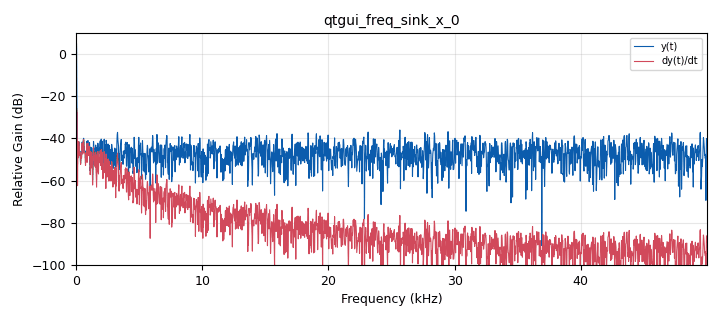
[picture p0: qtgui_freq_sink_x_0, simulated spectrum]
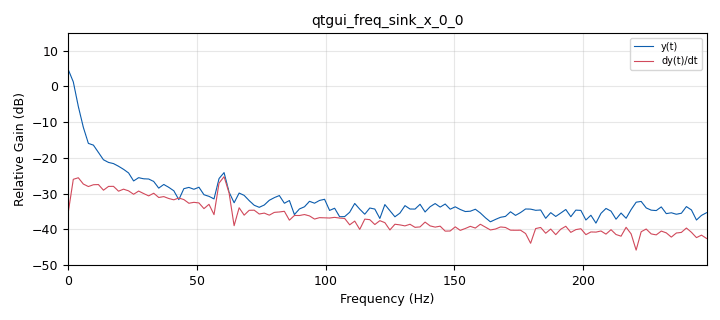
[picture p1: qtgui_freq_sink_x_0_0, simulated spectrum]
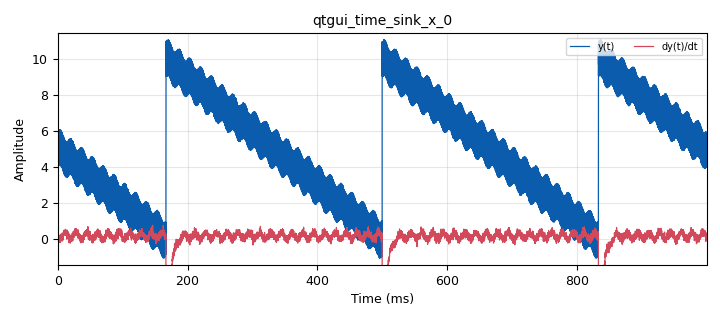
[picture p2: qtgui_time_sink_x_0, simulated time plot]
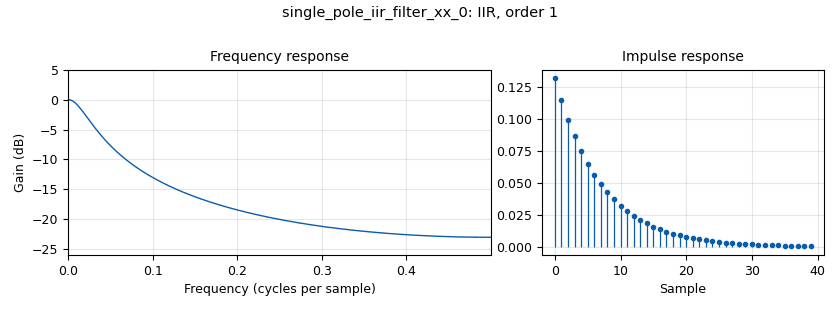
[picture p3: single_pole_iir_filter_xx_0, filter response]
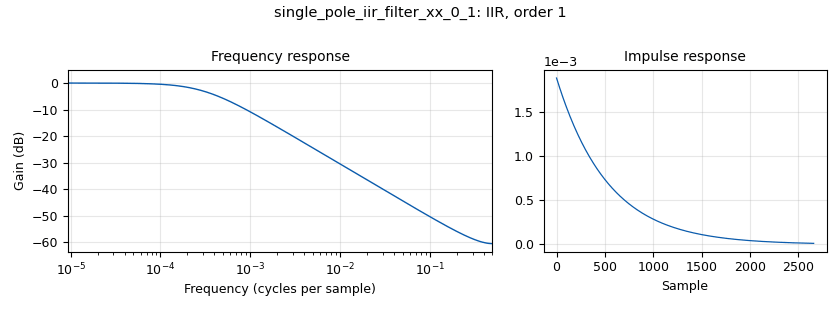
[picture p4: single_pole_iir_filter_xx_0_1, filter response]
<?xml version='1.0' encoding='utf-8'?>
<?grc format='1' created='3.7.11'?>
<flow_graph>
<block>
<key>options</key>
<param><key>id</key><value>dcct_post_filter</value></param>
<param><key>generate_options</key><value>qt_gui</value></param>
</block>
<block>
<key>variable</key>
<param><key>id</key><value>PI</value></param>
<param><key>value</key><value>3.14159265359</value></param>
</block>
<block>
<key>variable</key>
<param><key>id</key><value>TWO_PI</value></param>
<param><key>value</key><value>2*PI</value></param>
</block>
<block>
<key>variable</key>
<param><key>id</key><value>Ts</value></param>
<param><key>value</key><value>1.0/(samp_rate)</value></param>
</block>
<block>
<key>variable</key>
<param><key>id</key><value>alpha</value></param>
<param><key>value</key><value>TWO_PI*Ts*freq_max_corr/(TWO_PI*Ts*freq_max_corr+1)</value></param>
</block>
<block>
<key>variable</key>
<param><key>id</key><value>alpha_low</value></param>
<param><key>value</key><value>TWO_PI*Ts*freq_min/(TWO_PI*Ts*freq_min+1)</value></param>
</block>
<block>
<key>variable</key>
<param><key>id</key><value>decimate</value></param>
<param><key>value</key><value>200</value></param>
</block>
<block>
<key>variable</key>
<param><key>id</key><value>freq_max</value></param>
<param><key>value</key><value>2000</value></param>
</block>
<block>
<key>variable</key>
<param><key>id</key><value>freq_max_corr</value></param>
<param><key>value</key><value>freq_max/(2*(sqrt2-1))</value></param>
</block>
<block>
<key>variable</key>
<param><key>id</key><value>freq_min</value></param>
<param><key>value</key><value>30</value></param>
</block>
<block>
<key>variable</key>
<param><key>id</key><value>samp_rate</value></param>
<param><key>value</key><value>100000</value></param>
</block>
<block>
<key>variable</key>
<param><key>id</key><value>sqrt2</value></param>
<param><key>value</key><value>1.4142135623731</value></param>
</block>
<block>
<key>analog_const_source_x</key>
<param><key>id</key><value>analog_const_source_x_0</value></param>
<param><key>const</key><value>10</value></param>
<param><key>type</key><value>float</value></param>
</block>
<block>
<key>analog_noise_source_x</key>
<param><key>id</key><value>analog_noise_source_x_0</value></param>
<param><key>amp</key><value>1</value></param>
<param><key>noise_type</key><value>analog.GR_UNIFORM</value></param>
<param><key>type</key><value>float</value></param>
<param><key>seed</key><value>0</value></param>
</block>
<block>
<key>analog_sig_source_x</key>
<param><key>id</key><value>analog_sig_source_x_0</value></param>
<param><key>amp</key><value>10</value></param>
<param><key>freq</key><value>3</value></param>
<param><key>offset</key><value>0</value></param>
<param><key>type</key><value>float</value></param>
<param><key>samp_rate</key><value>samp_rate</value></param>
<param><key>waveform</key><value>analog.GR_SAW_WAVE</value></param>
</block>
<block>
<key>analog_sig_source_x</key>
<param><key>id</key><value>analog_sig_source_x_0_0</value></param>
<param><key>amp</key><value>0.2</value></param>
<param><key>freq</key><value>60</value></param>
<param><key>offset</key><value>0</value></param>
<param><key>type</key><value>float</value></param>
<param><key>samp_rate</key><value>samp_rate</value></param>
<param><key>waveform</key><value>analog.GR_SIN_WAVE</value></param>
</block>
<block>
<key>blocks_add_xx</key>
<param><key>id</key><value>blocks_add_xx_0</value></param>
<param><key>type</key><value>float</value></param>
<param><key>num_inputs</key><value>3</value></param>
</block>
<block>
<key>blocks_keep_one_in_n</key>
<param><key>id</key><value>blocks_keep_one_in_n_0</value></param>
<param><key>n</key><value>decimate</value></param>
<param><key>type</key><value>float</value></param>
</block>
<block>
<key>blocks_keep_one_in_n</key>
<param><key>id</key><value>blocks_keep_one_in_n_0_0</value></param>
<param><key>n</key><value>decimate</value></param>
<param><key>type</key><value>float</value></param>
</block>
<block>
<key>blocks_multiply_const_vxx</key>
<param><key>id</key><value>blocks_multiply_const_vxx_0</value></param>
<param><key>const</key><value>1</value></param>
<param><key>type</key><value>float</value></param>
</block>
<block>
<key>blocks_multiply_const_vxx</key>
<param><key>id</key><value>blocks_multiply_const_vxx_0_0</value></param>
<param><key>const</key><value>-1</value></param>
<param><key>type</key><value>float</value></param>
</block>
<block>
<key>blocks_sub_xx</key>
<param><key>id</key><value>blocks_sub_xx_0</value></param>
<param><key>type</key><value>float</value></param>
</block>
<block>
<key>blocks_sub_xx</key>
<param><key>id</key><value>blocks_sub_xx_0_0</value></param>
<param><key>type</key><value>float</value></param>
</block>
<block>
<key>blocks_throttle</key>
<param><key>id</key><value>blocks_throttle_0</value></param>
<param><key>samples_per_second</key><value>samp_rate</value></param>
<param><key>type</key><value>float</value></param>
</block>
<block>
<key>qtgui_freq_sink_x</key>
<param><key>id</key><value>qtgui_freq_sink_x_0</value></param>
<param><key>bw</key><value>samp_rate</value></param>
<param><key>fc</key><value>0</value></param>
<param><key>fftsize</key><value>4096</value></param>
<param><key>gui_hint</key><value>1,0</value></param>
<param><key>grid</key><value>True</value></param>
<param><key>label1</key><value>y(t)</value></param>
<param><key>label2</key><value>dy(t)/dt</value></param>
<param><key>nconnections</key><value>2</value></param>
<param><key>showports</key><value>True</value></param>
<param><key>freqhalf</key><value>False</value></param>
<param><key>type</key><value>float</value></param>
<param><key>wintype</key><value>firdes.WIN_HANN</value></param>
<param><key>ymax</key><value>+10</value></param>
<param><key>ymin</key><value>-100</value></param>
</block>
<block>
<key>qtgui_freq_sink_x</key>
<param><key>id</key><value>qtgui_freq_sink_x_0_0</value></param>
<param><key>average</key><value>0.1</value></param>
<param><key>bw</key><value>samp_rate/decimate</value></param>
<param><key>fc</key><value>0</value></param>
<param><key>fftsize</key><value>256</value></param>
<param><key>gui_hint</key><value>2,0</value></param>
<param><key>grid</key><value>True</value></param>
<param><key>label1</key><value>y(t)</value></param>
<param><key>width1</key><value>2</value></param>
<param><key>label2</key><value>dy(t)/dt</value></param>
<param><key>width2</key><value>2</value></param>
<param><key>nconnections</key><value>2</value></param>
<param><key>showports</key><value>True</value></param>
<param><key>freqhalf</key><value>False</value></param>
<param><key>type</key><value>float</value></param>
<param><key>wintype</key><value>firdes.WIN_BLACKMAN_hARRIS</value></param>
<param><key>ymax</key><value>+15</value></param>
<param><key>ymin</key><value>-50</value></param>
</block>
<block>
<key>qtgui_time_sink_x</key>
<param><key>id</key><value>qtgui_time_sink_x_0</value></param>
<param><key>entags</key><value>False</value></param>
<param><key>gui_hint</key><value>0,0</value></param>
<param><key>color1</key><value>"blue"</value></param>
<param><key>label1</key><value>y(t)</value></param>
<param><key>color2</key><value>"red"</value></param>
<param><key>label2</key><value>dy(t)/dt</value></param>
<param><key>nconnections</key><value>2</value></param>
<param><key>size</key><value>samp_rate</value></param>
<param><key>srate</key><value>samp_rate</value></param>
<param><key>type</key><value>float</value></param>
<param><key>ymax</key><value>11</value></param>
</block>
<block>
<key>single_pole_iir_filter_xx</key>
<param><key>id</key><value>single_pole_iir_filter_xx_0</value></param>
<param><key>alpha</key><value>alpha</value></param>
<param><key>type</key><value>float</value></param>
</block>
<block>
<key>single_pole_iir_filter_xx</key>
<param><key>id</key><value>single_pole_iir_filter_xx_0_0</value></param>
<param><key>alpha</key><value>alpha</value></param>
<param><key>type</key><value>float</value></param>
</block>
<block>
<key>single_pole_iir_filter_xx</key>
<param><key>id</key><value>single_pole_iir_filter_xx_0_1</value></param>
<param><key>alpha</key><value>alpha_low</value></param>
<param><key>type</key><value>float</value></param>
</block>
<connection><source_block_id>analog_const_source_x_0</source_block_id><sink_block_id>blocks_sub_xx_0_0</sink_block_id><source_key>0</source_key><sink_key>0</sink_key></connection>
<connection><source_block_id>analog_noise_source_x_0</source_block_id><sink_block_id>blocks_add_xx_0</sink_block_id><source_key>0</source_key><sink_key>0</sink_key></connection>
<connection><source_block_id>analog_sig_source_x_0</source_block_id><sink_block_id>blocks_sub_xx_0_0</sink_block_id><source_key>0</source_key><sink_key>1</sink_key></connection>
<connection><source_block_id>analog_sig_source_x_0_0</source_block_id><sink_block_id>blocks_add_xx_0</sink_block_id><source_key>0</source_key><sink_key>1</sink_key></connection>
<connection><source_block_id>blocks_add_xx_0</source_block_id><sink_block_id>blocks_sub_xx_0</sink_block_id><source_key>0</source_key><sink_key>0</sink_key></connection>
<connection><source_block_id>blocks_add_xx_0</source_block_id><sink_block_id>blocks_throttle_0</sink_block_id><source_key>0</source_key><sink_key>0</sink_key></connection>
<connection><source_block_id>blocks_add_xx_0</source_block_id><sink_block_id>single_pole_iir_filter_xx_0_1</sink_block_id><source_key>0</source_key><sink_key>0</sink_key></connection>
<connection><source_block_id>blocks_keep_one_in_n_0</source_block_id><sink_block_id>qtgui_freq_sink_x_0_0</sink_block_id><source_key>0</source_key><sink_key>1</sink_key></connection>
<connection><source_block_id>blocks_keep_one_in_n_0_0</source_block_id><sink_block_id>qtgui_freq_sink_x_0_0</sink_block_id><source_key>0</source_key><sink_key>0</sink_key></connection>
<connection><source_block_id>blocks_multiply_const_vxx_0</source_block_id><sink_block_id>qtgui_freq_sink_x_0</sink_block_id><source_key>0</source_key><sink_key>0</sink_key></connection>
<connection><source_block_id>blocks_multiply_const_vxx_0</source_block_id><sink_block_id>qtgui_time_sink_x_0</sink_block_id><source_key>0</source_key><sink_key>0</sink_key></connection>
<connection><source_block_id>blocks_multiply_const_vxx_0_0</source_block_id><sink_block_id>blocks_keep_one_in_n_0</sink_block_id><source_key>0</source_key><sink_key>0</sink_key></connection>
<connection><source_block_id>blocks_multiply_const_vxx_0_0</source_block_id><sink_block_id>qtgui_freq_sink_x_0</sink_block_id><source_key>0</source_key><sink_key>1</sink_key></connection>
<connection><source_block_id>blocks_multiply_const_vxx_0_0</source_block_id><sink_block_id>qtgui_time_sink_x_0</sink_block_id><source_key>0</source_key><sink_key>1</sink_key></connection>
<connection><source_block_id>blocks_sub_xx_0</source_block_id><sink_block_id>single_pole_iir_filter_xx_0</sink_block_id><source_key>0</source_key><sink_key>0</sink_key></connection>
<connection><source_block_id>blocks_sub_xx_0_0</source_block_id><sink_block_id>blocks_add_xx_0</sink_block_id><source_key>0</source_key><sink_key>2</sink_key></connection>
<connection><source_block_id>blocks_throttle_0</source_block_id><sink_block_id>blocks_keep_one_in_n_0_0</sink_block_id><source_key>0</source_key><sink_key>0</sink_key></connection>
<connection><source_block_id>blocks_throttle_0</source_block_id><sink_block_id>blocks_multiply_const_vxx_0</sink_block_id><source_key>0</source_key><sink_key>0</sink_key></connection>
<connection><source_block_id>single_pole_iir_filter_xx_0</source_block_id><sink_block_id>single_pole_iir_filter_xx_0_0</sink_block_id><source_key>0</source_key><sink_key>0</sink_key></connection>
<connection><source_block_id>single_pole_iir_filter_xx_0_0</source_block_id><sink_block_id>blocks_multiply_const_vxx_0_0</sink_block_id><source_key>0</source_key><sink_key>0</sink_key></connection>
<connection><source_block_id>single_pole_iir_filter_xx_0_1</source_block_id><sink_block_id>blocks_sub_xx_0</sink_block_id><source_key>0</source_key><sink_key>1</sink_key></connection>
</flow_graph>
